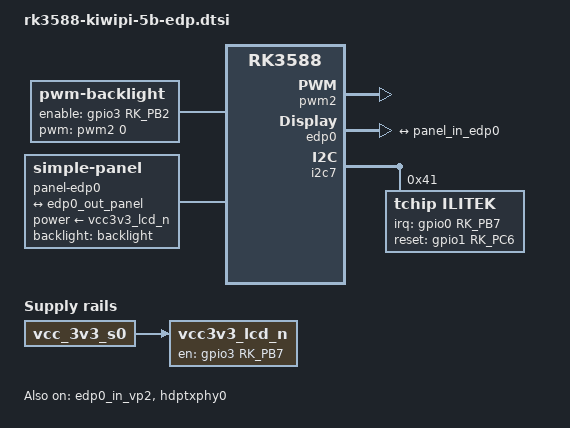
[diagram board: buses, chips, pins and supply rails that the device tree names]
// SPDX-License-Identifier: (GPL-2.0+ OR MIT)
/*
 * Copyright (c) 2021 Rockchip Electronics Co., Ltd.
 *
 */

/ {
	backlight: backlight {
		compatible = "pwm-backlight";
		pwms = <&pwm2 0 25000 0>;
		brightness-levels = <
			  0  20  20  21  21  22  22  23
			 23  24  24  25  25  26  26  27
			 27  28  28  29  29  30  30  31
			 31  32  32  33  33  34  34  35
			 35  36  36  37  37  38  38  39
			 40  41  42  43  44  45  46  47
			 48  49  50  51  52  53  54  55
			 56  57  58  59  60  61  62  63
			 64  65  66  67  68  69  70  71
			 72  73  74  75  76  77  78  79
			 80  81  82  83  84  85  86  87
			 88  89  90  91  92  93  94  95
			 96  97  98  99 100 101 102 103
			104 105 106 107 108 109 110 111
			112 113 114 115 116 117 118 119
			120 121 122 123 124 125 126 127
			128 129 130 131 132 133 134 135
			136 137 138 139 140 141 142 143
			144 145 146 147 148 149 150 151
			152 153 154 155 156 157 158 159
			160 161 162 163 164 165 166 167
			168 169 170 171 172 173 174 175
			176 177 178 179 180 181 182 183
			184 185 186 187 188 189 190 191
			192 193 194 195 196 197 198 199
			200 201 202 203 204 205 206 207
			208 209 210 211 212 213 214 215
			216 217 218 219 220 221 222 223
			224 225 226 227 228 229 230 231
			232 233 234 235 236 237 238 239
			240 241 242 243 244 245 246 247
			248 249 250 251 252 253 254 255
		>;
		default-brightness-level = <200>;
		enable-gpios = <&gpio3 RK_PB2 GPIO_ACTIVE_HIGH>;
	};

	panel-edp0 {
		compatible = "simple-panel";
		backlight = <&backlight>;
		power-supply = <&vcc3v3_lcd_n>;
		prepare-delay-ms = <120>;
		enable-delay-ms = <120>;
		unprepare-delay-ms = <120>;
		disable-delay-ms = <120>;
		width-mm = <120>;
		height-mm = <160>;

		panel-timing {
			clock-frequency = <148500000>;
			hactive = <1920>;
			vactive = <1080>;
			hfront-porch = <110>;
			hsync-len = <60>;
			hback-porch = <10>;
			vfront-porch = <20>;
			vsync-len = <8>;
			vback-porch = <4>;
			hsync-active = <0>;
			vsync-active = <0>;
			de-active = <0>;
			pixelclk-active = <0>;
		};

		port {
			panel_in_edp0: endpoint {
				remote-endpoint = <&edp0_out_panel>;
			};
		};
	};

	vcc3v3_lcd_n: vcc3v3-lcd0-n {
		compatible = "regulator-fixed";
		regulator-name = "vcc3v3_lcd0_n";
		enable-active-high;
		regulator-boot-on;
		gpio = <&gpio3 RK_PB7 GPIO_ACTIVE_HIGH>;
		vin-supply = <&vcc_3v3_s0>;
		startup-delay-us = <150000>;
	};
};

&pwm2 {
	status = "okay";
	pinctrl-names = "active";
    pinctrl-0 = <&pwm2m1_pins>;
};

&edp0 {
	force-hpd;
	status = "okay";

	ports {
		port@1 {
			reg = <1>;

			edp0_out_panel: endpoint {
				remote-endpoint = <&panel_in_edp0>;
			};
		};
	};
};

&edp0_in_vp2 {
	status = "okay";
};

&route_edp0 {
	connect = <&vp2_out_edp0>;
	status = "disabled";
};

&hdptxphy0 {
    status = "okay";
};

&i2c7 {
	status = "okay";
	
    /*gt9xx: gt9xx@14 {
		status = "okay";
        compatible = "goodix,gt9xx";
        reg = <0x14>;
        pinctrl-names = "default";
        pinctrl-0 = <&gt9xx_gpio>;
        touch-gpio = <&gpio0 RK_PB7 IRQ_TYPE_LEVEL_HIGH>;
        reset-gpio = <&gpio1 RK_PC6 GPIO_ACTIVE_HIGH>;
        max-x = <1920>;
        max-y = <1080>;
        tp-size = <9110>;
		tp-version = <12>;
        //tp-supply = <&vcc3v3_tp>;
    };*/
	
	ilitek@41 {
		compatible = "tchip,ilitek";
		reg = <0x41>;
        pinctrl-names = "default";
        pinctrl-0 = <&ilitek_gpio>;
		ilitek,irq-gpio = <&gpio0 RK_PB7 IRQ_TYPE_LEVEL_HIGH>;
		ilitek,reset-gpio = <&gpio1 RK_PC6 GPIO_ACTIVE_HIGH>;
		//ilitek,enable-gpio = <&gpio3 RK_PB7 GPIO_ACTIVE_HIGH>;
		ilitek,vbus = "vcc_i2c";
		ilitek,vdd = "vdd";
		ilitek,name = "ilitek_i2c";
		status = "okay";
	};	
};

&pinctrl {

    ilitek {
        ilitek_gpio: ilitek-gpio {
            rockchip,pins = <0 RK_PB7 RK_FUNC_GPIO &pcfg_pull_up>,
							<1 RK_PC6 RK_FUNC_GPIO &pcfg_pull_none>;					
        };
    };
};
